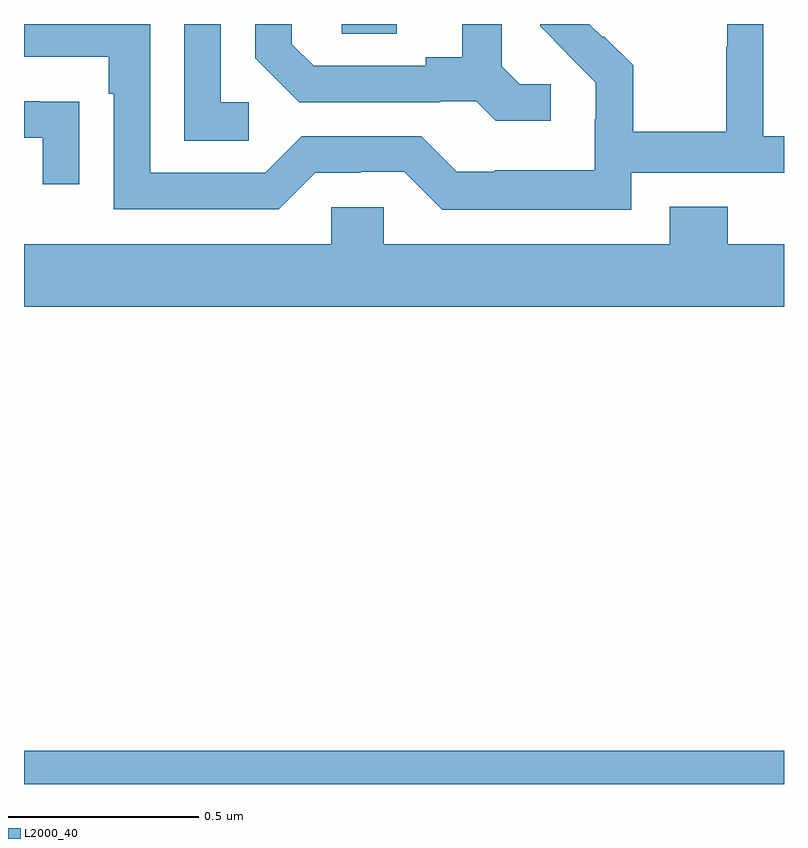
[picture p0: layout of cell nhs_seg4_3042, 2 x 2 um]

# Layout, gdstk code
import gdstk
lib = gdstk.Library(unit=1e-6, precision=1e-09)
def R(c, l, rs):  # rectangles x0, y0, x1, y1
    for r in rs: c.add(gdstk.rectangle(r[:2], r[2:], *l))
def P(c, l, *ps):  # polygons
    for p in ps: c.add(gdstk.Polygon(p, *l))
L2000_40 = (2000, 40)

nhs_seg4_3042 = lib.new_cell('nhs_seg4_3042')
R(nhs_seg4_3042, L2000_40, [(148,792.9,150,792.988), (148.836,794.875,148.981,794.9)])
P(nhs_seg4_3042, L2000_40, [(148.591,794.694),(148.518,794.694),(148.518,794.9),(148.422,794.9),(148.422,794.593),(148.591,794.593)],
  [(149.598,794.508),(150,794.508),(150,794.604),(149.946,794.604),(149.946,794.9),(149.85,794.9),(149.85,794.84),(149.848,794.84),(149.848,794.617),(149.603,794.617),(149.603,794.791),(149.526,794.868),(149.523,794.865),(149.488,794.9),(149.358,794.9),(149.358,794.894),(149.431,794.821),(149.43,794.82),(149.504,794.746),(149.504,794.649),(149.502,794.649),(149.502,794.515),(149.239,794.515),(149.239,794.511),(149.139,794.511),(149.046,794.604),(148.731,794.604),(148.635,794.508),(148.332,794.508),(148.332,794.9),(148,794.9),(148,794.814),(148.223,794.814),(148.223,794.717),(148.236,794.717),(148.236,794.412),(148.671,794.412),(148.767,794.508),(148.886,794.508),(148.886,794.511),(149.001,794.511),(149.101,794.411),(149.598,794.411)],
  [(149.386,794.742),(149.304,794.742),(149.257,794.789),(149.257,794.9),(149.153,794.9),(149.153,794.813),(149.057,794.813),(149.057,794.79),(148.762,794.79),(148.705,794.847),(148.705,794.9),(148.608,794.9),(148.608,794.81),(148.724,794.694),(149.096,794.694),(149.096,794.697),(149.19,794.697),(149.242,794.645),(149.386,794.645)],
  [(148.145,794.696),(148.043,794.696),(148.043,794.697),(148,794.697),(148,794.601),(148.049,794.601),(148.049,794.478),(148.145,794.478)],
  [(150,794.32),(149.852,794.32),(149.852,794.419),(149.699,794.419),(149.699,794.32),(148.947,794.32),(148.947,794.418),(148.809,794.418),(148.809,794.32),(148,794.32),(148,794.156),(150,794.156)])

lib.write_gds('nhs_seg4_3042.gds')
